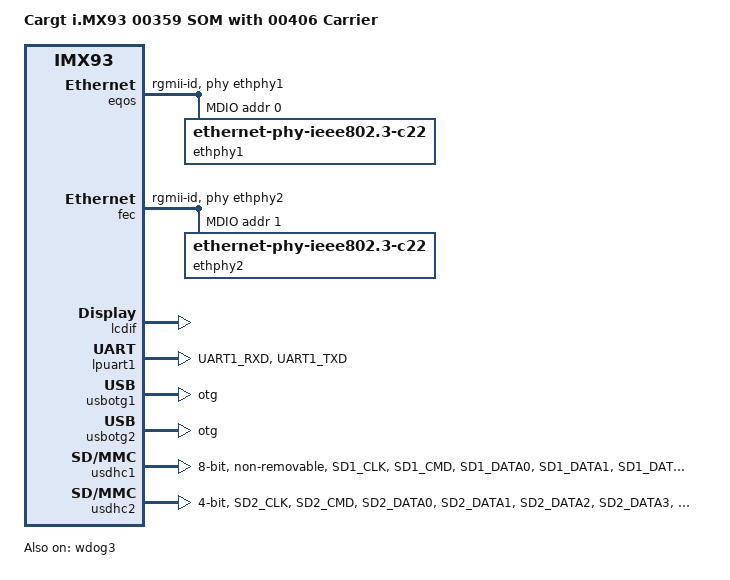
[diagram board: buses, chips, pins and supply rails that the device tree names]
// SPDX-License-Identifier: (GPL-2.0+ OR MIT)
/*
 * Copyright 2022 NXP
 */

/dts-v1/;

#include "imx93-cargt-00359.dts"

/ {
	model = "Cargt i.MX93 00359 SOM with 00406 Carrier";
	compatible = "cargt,imx93-00359", "fsl,imx93";

	chosen {
		bootargs = "console=ttyLP0,115200";
		stdout-path = &lpuart1;
	};

	reserved-memory {
		#address-cells = <2>;
		#size-cells = <2>;
		ranges;

		linux,cma {
			compatible = "shared-dma-pool";
			reusable;
			alloc-ranges = <0 0x80000000 0 0x40000000>;
			size = <0 0x10000000>;
			linux,cma-default;
		};
	};
};

&eqos {
	status = "okay";
	pinctrl-names = "default";
	phy-mode = "rgmii-id";
	phy-handle = <&ethphy1>;

	mdio {
		compatible = "snps,dwmac-mdio";
		#address-cells = <1>;
		#size-cells = <0>;
		clock-frequency = <5000000>;

		ethphy1: ethernet-phy@0 {
			compatible = "ethernet-phy-ieee802.3-c22";
			reg = <0>;
			eee-broken-1000t;
		};
	};
};

&fec {
	status = "okay";
	phy-mode = "rgmii-id";
	phy-handle = <&ethphy2>;
	fsl,magic-packet;

	mdio {
		#address-cells = <1>;
		#size-cells = <0>;
		clock-frequency = <5000000>;

		ethphy2: ethernet-phy@1 {
			compatible = "ethernet-phy-ieee802.3-c22";
			reg = <1>;
			eee-broken-1000t;
		};
	};
};

&lcdif {
	status = "okay";
	assigned-clock-rates = <484000000>, <121000000>, <400000000>, <133333333>;
};


&lpuart1 { /* console */
	pinctrl-names = "default";
	pinctrl-0 = <&pinctrl_uart1>;
	status = "okay";
};

&usbotg1 {
	dr_mode = "otg";
	hnp-disable;
	srp-disable;
	adp-disable;
	usb-role-switch;
	disable-over-current;
	samsung,picophy-pre-emp-curr-control = <3>;
	samsung,picophy-dc-vol-level-adjust = <7>;
	status = "okay";
};

&usbotg2 {
	dr_mode = "otg";
	hnp-disable;
	srp-disable;
	adp-disable;
	usb-role-switch;
	disable-over-current;
	samsung,picophy-pre-emp-curr-control = <3>;
	samsung,picophy-dc-vol-level-adjust = <7>;
	status = "okay";
};

&usdhc1 {
	pinctrl-names = "default", "state_100mhz", "state_200mhz";
	pinctrl-0 = <&pinctrl_usdhc1>;
	pinctrl-1 = <&pinctrl_usdhc1>;
	pinctrl-2 = <&pinctrl_usdhc1>;
	bus-width = <8>;
	non-removable;
	status = "okay";
};

&usdhc2 {
	pinctrl-names = "default", "state_100mhz", "state_200mhz";
	pinctrl-0 = <&pinctrl_usdhc2>, <&pinctrl_usdhc2_gpio>;
	pinctrl-1 = <&pinctrl_usdhc2>, <&pinctrl_usdhc2_gpio>;
	pinctrl-2 = <&pinctrl_usdhc2>, <&pinctrl_usdhc2_gpio>;
	cd-gpios = <&gpio3 00 GPIO_ACTIVE_LOW>;
	bus-width = <4>;
	status = "okay";
};

&usdhc3 {
	status = "disabled";
};



&iomuxc {

	pinctrl_lpi2c1: lpi2c1grp {
		fsl,pins = <
			MX93_PAD_I2C1_SCL__LPI2C1_SCL			0x40000b9e
			MX93_PAD_I2C1_SDA__LPI2C1_SDA			0x40000b9e
		>;
	};

	pinctrl_lpi2c2: lpi2c2grp {
		fsl,pins = <
			MX93_PAD_I2C2_SCL__LPI2C2_SCL			0x40000b9e
			MX93_PAD_I2C2_SDA__LPI2C2_SDA			0x40000b9e
		>;
	};

	pinctrl_pcal6524: pcal6524grp {
		fsl,pins = <
			MX93_PAD_CCM_CLKO2__GPIO3_IO27			0x31e
		>;
	};

	pinctrl_eqos: eqosgrp {
		fsl,pins = <
			MX93_PAD_ENET1_MDC__ENET_QOS_MDC			0x57e
			MX93_PAD_ENET1_MDIO__ENET_QOS_MDIO			0x57e
			MX93_PAD_ENET1_RD0__ENET_QOS_RGMII_RD0			0x57e
			MX93_PAD_ENET1_RD1__ENET_QOS_RGMII_RD1			0x57e
			MX93_PAD_ENET1_RD2__ENET_QOS_RGMII_RD2			0x57e
			MX93_PAD_ENET1_RD3__ENET_QOS_RGMII_RD3			0x57e
			MX93_PAD_ENET1_RXC__CCM_ENET_QOS_CLOCK_GENERATE_RX_CLK	0x5fe
			MX93_PAD_ENET1_RX_CTL__ENET_QOS_RGMII_RX_CTL		0x57e
			MX93_PAD_ENET1_TD0__ENET_QOS_RGMII_TD0			0x57e
			MX93_PAD_ENET1_TD1__ENET_QOS_RGMII_TD1			0x57e
			MX93_PAD_ENET1_TD2__ENET_QOS_RGMII_TD2			0x57e
			MX93_PAD_ENET1_TD3__ENET_QOS_RGMII_TD3			0x57e
			MX93_PAD_ENET1_TXC__CCM_ENET_QOS_CLOCK_GENERATE_TX_CLK	0x5fe
			MX93_PAD_ENET1_TX_CTL__ENET_QOS_RGMII_TX_CTL		0x57e
		>;
	};

	pinctrl_flexspi: flexspigrp {
		fsl,pins = <
			MX93_PAD_SD3_CMD__FLEXSPI1_A_SS0_B      0x42
			MX93_PAD_SD3_CLK__FLEXSPI1_A_SCLK       0x42
			MX93_PAD_SD3_DATA0__FLEXSPI1_A_DATA00   0x42
			MX93_PAD_SD3_DATA1__FLEXSPI1_A_DATA01   0x42
			MX93_PAD_SD3_DATA2__FLEXSPI1_A_DATA02   0x42
			MX93_PAD_SD3_DATA3__FLEXSPI1_A_DATA03   0x42
		>;
	};

	pinctrl_lpi2c3: lpi2c3grp {
		fsl,pins = <
			MX93_PAD_GPIO_IO28__LPI2C3_SDA			0x40000b9e
			MX93_PAD_GPIO_IO29__LPI2C3_SCL			0x40000b9e
		>;
	};

	pinctrl_fec: fecgrp {
		fsl,pins = <
			MX93_PAD_ENET2_MDC__ENET1_MDC			0x57e
			MX93_PAD_ENET2_MDIO__ENET1_MDIO			0x57e
			MX93_PAD_ENET2_RD0__ENET1_RGMII_RD0		0x57e
			MX93_PAD_ENET2_RD1__ENET1_RGMII_RD1		0x57e
			MX93_PAD_ENET2_RD2__ENET1_RGMII_RD2		0x57e
			MX93_PAD_ENET2_RD3__ENET1_RGMII_RD3		0x57e
			MX93_PAD_ENET2_RXC__ENET1_RGMII_RXC		0x5fe
			MX93_PAD_ENET2_RX_CTL__ENET1_RGMII_RX_CTL	0x57e
			MX93_PAD_ENET2_TD0__ENET1_RGMII_TD0		0x57e
			MX93_PAD_ENET2_TD1__ENET1_RGMII_TD1		0x57e
			MX93_PAD_ENET2_TD2__ENET1_RGMII_TD2		0x57e
			MX93_PAD_ENET2_TD3__ENET1_RGMII_TD3		0x57e
			MX93_PAD_ENET2_TXC__ENET1_RGMII_TXC		0x5fe
			MX93_PAD_ENET2_TX_CTL__ENET1_RGMII_TX_CTL	0x57e
		>;
	};

	pinctrl_uart1: uart1grp {
		fsl,pins = <
			MX93_PAD_UART1_RXD__LPUART1_RX			0x31e
			MX93_PAD_UART1_TXD__LPUART1_TX			0x31e
		>;
	};

	pinctrl_usdhc1: usdhc1grp {
		fsl,pins = <
			MX93_PAD_SD1_CLK__USDHC1_CLK		0x15fe
			MX93_PAD_SD1_CMD__USDHC1_CMD		0x13fe
			MX93_PAD_SD1_DATA0__USDHC1_DATA0	0x13fe
			MX93_PAD_SD1_DATA1__USDHC1_DATA1	0x13fe
			MX93_PAD_SD1_DATA2__USDHC1_DATA2	0x13fe
			MX93_PAD_SD1_DATA3__USDHC1_DATA3	0x13fe
			MX93_PAD_SD1_DATA4__USDHC1_DATA4	0x13fe
			MX93_PAD_SD1_DATA5__USDHC1_DATA5	0x13fe
			MX93_PAD_SD1_DATA6__USDHC1_DATA6	0x13fe
			MX93_PAD_SD1_DATA7__USDHC1_DATA7	0x13fe
			MX93_PAD_SD1_STROBE__USDHC1_STROBE	0x15fe
		>;
	};

	pinctrl_reg_usdhc2_vmmc: regusdhc2vmmcgrp {
		fsl,pins = <
			MX93_PAD_SD2_RESET_B__GPIO3_IO07	0x31e
		>;
	};

	pinctrl_usdhc2_gpio: usdhc2gpiogrp {
		fsl,pins = <
			MX93_PAD_SD2_CD_B__GPIO3_IO00		0x31e
		>;
	};

	pinctrl_usdhc2: usdhc2grp {
		fsl,pins = <
			MX93_PAD_SD2_CLK__USDHC2_CLK			0x15fe
			MX93_PAD_SD2_CMD__USDHC2_CMD			0x13fe
			MX93_PAD_SD2_DATA0__USDHC2_DATA0		0x13fe
			MX93_PAD_SD2_DATA1__USDHC2_DATA1		0x13fe
			MX93_PAD_SD2_DATA2__USDHC2_DATA2		0x13fe
			MX93_PAD_SD2_DATA3__USDHC2_DATA3		0x13fe
			MX93_PAD_SD2_VSELECT__USDHC2_VSELECT	0x51e
		>;
	};

};

&wdog3 {
	status = "okay";
};
